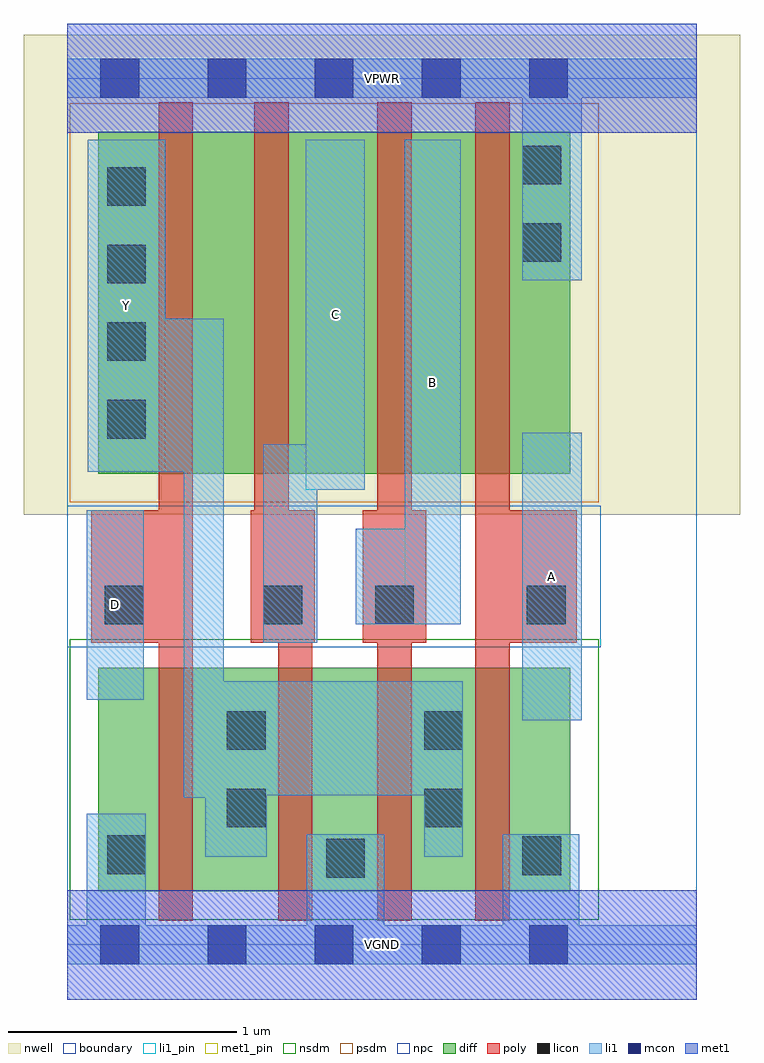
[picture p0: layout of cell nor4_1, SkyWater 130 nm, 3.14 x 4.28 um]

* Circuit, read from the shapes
.subckt nor4_1 A B C D VGND VPWR Y
XM1 Y D VGND VSUBS sky130_fd_pr__nfet_01v8 w=0.98 l=0.15
XM2 VGND C Y VSUBS sky130_fd_pr__nfet_01v8 w=0.98 l=0.15
XM3 Y B VGND VSUBS sky130_fd_pr__nfet_01v8 w=0.98 l=0.15
XM4 VGND A Y VSUBS sky130_fd_pr__nfet_01v8 w=0.98 l=0.15
XM5 n1 D Y n2 sky130_fd_pr__pfet_01v8 w=1.5 l=0.15
XM6 n3 C n1 n2 sky130_fd_pr__pfet_01v8 w=1.5 l=0.15
XM7 n4 B n3 n2 sky130_fd_pr__pfet_01v8 w=1.5 l=0.15
XM8 VPWR A n4 n2 sky130_fd_pr__pfet_01v8 w=1.5 l=0.15
.ends

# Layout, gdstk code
import gdstk
lib = gdstk.Library(unit=1e-6, precision=1e-09)
def R(c, l, rs):  # rectangles x0, y0, x1, y1
    for r in rs: c.add(gdstk.rectangle(r[:2], r[2:], *l))
def A(c, l, x, y, w, h, nx, ny, dx, dy):  # array of equal rectangles
    R(c, l, [(x+i*dx, y+j*dy, x+i*dx+w, y+j*dy+h) for i in range(nx) for j in range(ny)])
nwell = (64, 20)
diff = (65, 20)
poly = (66, 20)
licon = (66, 44)
li1_pin = (67, 16)
li1 = (67, 20)
mcon = (67, 44)
met1_pin = (68, 16)
met1 = (68, 20)
nsdm = (93, 44)
psdm = (94, 20)
npc = (95, 20)
boundary = (235, 4)

nor4_1 = lib.new_cell('nor4_1')
R(nor4_1, nwell, [(-0.19,1.885,2.95,3.99), (0,1.885,2.76,3.99)])
R(nor4_1, diff, [(0.135,0.235,2.205,1.215), (0.135,2.065,2.205,3.565)])
R(nor4_1, poly, [(0.4,0.105,0.55,3.695), (0.925,0.105,1.075,1.905), (1.36,0.105,1.51,3.695), (1.79,0.105,1.94,3.695), (0.105,1.325,0.55,1.905), (0.805,1.325,1.085,1.905), (0.82,1.325,0.97,3.695), (1.295,1.325,1.575,1.905), (1.79,1.325,2.235,1.905)])
A(nor4_1, licon, 0.175, 2.22, 0.17, 0.17, 1, 4, 0, 0.34)
R(nor4_1, licon, [(1.135,0.295,1.305,0.465), (1.995,0.305,2.165,0.475), (0.175,0.31,0.345,0.48), (0.7,0.515,0.87,0.685), (1.565,0.515,1.735,0.685), (0.7,0.855,0.87,1.025), (1.565,0.855,1.735,1.025), (0.165,1.405,0.335,1.575), (0.86,1.405,1.03,1.575), (1.35,1.405,1.52,1.575), (2.015,1.405,2.185,1.575), (1.995,2.995,2.165,3.165), (1.995,3.335,2.165,3.505)])
R(nor4_1, li1_pin, [(1.995,0.985,2.255,2.245), (0.085,1.075,0.335,1.905), (1.48,1.405,1.725,3.53), (1.045,1.995,1.305,3.53), (0.09,2.075,0.43,3.53)])
R(nor4_1, li1, [(0,-0.085,2.76,0.085), (0.085,-0.085,0.345,0.575), (1.05,-0.085,1.39,0.485), (1.91,-0.085,2.245,0.485), (0.605,0.385,0.875,1.155), (1.565,0.385,1.735,1.155), (0.51,0.645,0.685,2.745), (0.51,0.655,1.735,1.155), (1.995,0.985,2.255,2.245), (0.085,1.075,0.335,1.905), (0.86,1.325,1.095,2.195), (1.265,1.405,1.725,1.825), (1.48,1.405,1.725,3.53), (1.045,1.995,1.305,3.53), (0.09,2.075,0.43,3.53), (0.09,2.075,0.685,2.745), (1.995,2.915,2.255,3.885), (0,3.715,2.76,3.885)])
A(nor4_1, mcon, 0.145, -0.085, 0.17, 0.17, 5, 2, 0.47, 3.8)
R(nor4_1, met1_pin, [(0,-0.24,2.76,0.24), (0,3.56,2.76,4.04)])
R(nor4_1, met1, [(0,-0.24,2.76,0.24), (0,3.56,2.76,4.04)])
R(nor4_1, nsdm, [(0.01,0.11,2.33,1.34)])
R(nor4_1, psdm, [(0.01,1.94,2.33,3.69)])
R(nor4_1, npc, [(0,1.305,2.34,1.925)])
R(nor4_1, boundary, [(0,0,2.76,3.8)])
nor4_1.add(gdstk.Label('A', (2.125,1.615), layer=67, texttype=5))
nor4_1.add(gdstk.Label('B', (1.602,2.467), layer=67, texttype=5))
nor4_1.add(gdstk.Label('C', (1.175,2.762), layer=67, texttype=5))
nor4_1.add(gdstk.Label('D', (0.21,1.49), layer=67, texttype=5))
nor4_1.add(gdstk.Label('Y', (0.26,2.802), layer=67, texttype=5))
nor4_1.add(gdstk.Label('VPWR', (1.38,3.8), layer=68, texttype=5))
nor4_1.add(gdstk.Label('VGND', (1.38,0), layer=68, texttype=5))
nor4_1.add(gdstk.Label('A', (2.125,1.615), layer=67, texttype=16))
nor4_1.add(gdstk.Label('B', (1.602,2.467), layer=67, texttype=16))
nor4_1.add(gdstk.Label('C', (1.175,2.762), layer=67, texttype=16))
nor4_1.add(gdstk.Label('D', (0.21,1.49), layer=67, texttype=16))
nor4_1.add(gdstk.Label('Y', (0.26,2.802), layer=67, texttype=16))
nor4_1.add(gdstk.Label('VPWR', (1.38,3.8), layer=68, texttype=16))
nor4_1.add(gdstk.Label('VGND', (1.38,0), layer=68, texttype=16))

lib.write_gds('nor4_1.gds')
